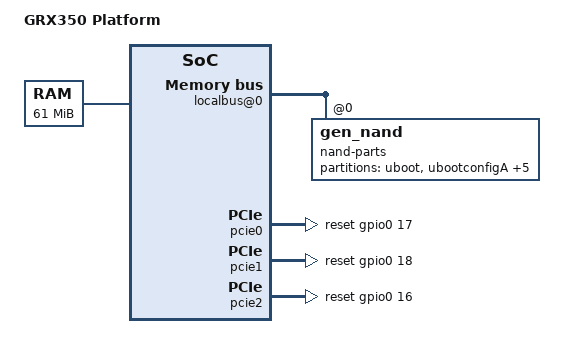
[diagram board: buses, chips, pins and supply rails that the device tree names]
/dts-v1/;

/include/ "xRX500.dtsi"

/ {

	model = "GRX350 Platform";

	chosen {
		bootargs-append = "console=ttyLTQ0,115200n8r nr_cpus=1 maxcpus=1 cca=5 root=/dev/ram rw pci=pcie_bus_perf init=/etc/preinit mtdparts=ifx_nand:1024k(uboot),256k(ubootconfigA),256k(ubootconfigB),256k(gphyfirmware),50m(system_sw),1m(calibration),-(res) loglevel=8 shell";
		##bootargs-append = "ubi.mtd=system_sw rootfsname=rootfsA ro rootfstype=squashfs console=ttyLTQ0,9600n8r maxcpus=4 cca=5 ethaddr=00:E0:92:12:01:92 panic=1 mtdparts=ifx_nand:1024k(uboot),256k(ubootconfigA),256k(ubootconfigB),256k(gphyfirmware),50m(system_sw),1m(calibration),-(res) init=/etc/preinit active_bank=A update_chk=0 ubootver=U-Boot-2010.06-LANTIQ-v-2.3.11";
        };

	memory@0 {
		reg = <0x20000000 0x3D00000>;
	};

	ssx4@16000000 {
			localbus@0 {
			ranges = <0 0 0x1c00000 0x3fffffff>;
			nand-parts@0 {
				compatible = "gen_nand","lantiq,nand-xway";
				lantiq,cs = <1>;
				bank-width = <2>;
				reg = <0 0x0 0x2000000>;
				#address-cells = <1>;
				#size-cells = <1>;

                                partition@0 {
                                        label = "uboot";
                                        reg = <0x000000 0x100000>;
                                };

                                partition@100000 {
                                        label = "ubootconfigA";
                                        reg = <0x100000 0x40000>;
                                };

                                partition@140000 {
                                        label = "ubootconfigB";
                                        reg = <0x140000 0x40000>;
                                };

                                partition@180000 {
                                        label = "gphyfirmware";
                                        reg = <0x180000 0x40000>;
                                };

                                partition@1c0000 {
                                        label = "system_sw";
                                        reg = <0x1c0000 0x3200000>;
                                };

                               partition@33c0000 {
                                        label = "calibration";
                                        reg = <0x33c0000 0x100000>;
                                };

                                partition@34c0000 {
                                        label = "res";
                                        reg = <0x34c0000 0x4B40000>;
                                };
			};
		};
	};
};

&pcie0 {
	status = "ok";
	reset-gpio = <&gpio0 17 0>;
	lantiq,rst-high-active = <0>; /* 0 - low activ, 1 -- high active */
	lantiq,rst-interval = <200>; /* in mili-seconds, up to 500 ms*/
	lantiq,inbound-swap = <1>; /* 0 -- no swap, 1 -- swap */
	lantiq,outbound-swap = <0>; /* 0 -- no swap, 1 -- swap */
	lantiq,phy-mode = <0>; /* 0 -36Mhz, 1 - 36MHzSSC, 2 - 25Mhz, 3 - 25MHzSSC, 4 - 100MHz */
};

&pcie1 {
	status = "ok";
	reset-gpio = <&gpio0 18 0>;
	lantiq,rst-high-active = <0>; /* 0 - low activ, 1 -- high active */
	lantiq,rst-interval = <200>; /* in mili-seconds, up to 500 ms*/
	lantiq,inbound-swap = <1>; /* 0 -- no swap, 1 -- swap */
	lantiq,outbound-swap = <0>; /* 0 -- no swap, 1 -- swap */
	lantiq,phy-mode = <0>; /* 0 -36Mhz, 1 - 36MHzSSC, 2 - 25Mhz, 3 - 25MHzSSC, 4 - 100MHz */
};

&pcie2 {
	status = "ok";
	reset-gpio = <&gpio0 16 0>;
	lantiq,rst-high-active = <0>; /* 0 - low activ, 1 -- high active */
	lantiq,rst-interval = <200>; /* in mili-seconds, up to 500 ms*/
	lantiq,inbound-swap = <1>; /* 0 -- no swap, 1 -- swap */
	lantiq,outbound-swap = <0>; /* 0 -- no swap, 1 -- swap */
	lantiq,phy-mode = <0>; /* 0 -36Mhz, 1 - 36MHzSSC, 2 - 25Mhz, 3 - 25MHzSSC, 4 - 100MHz */
};
